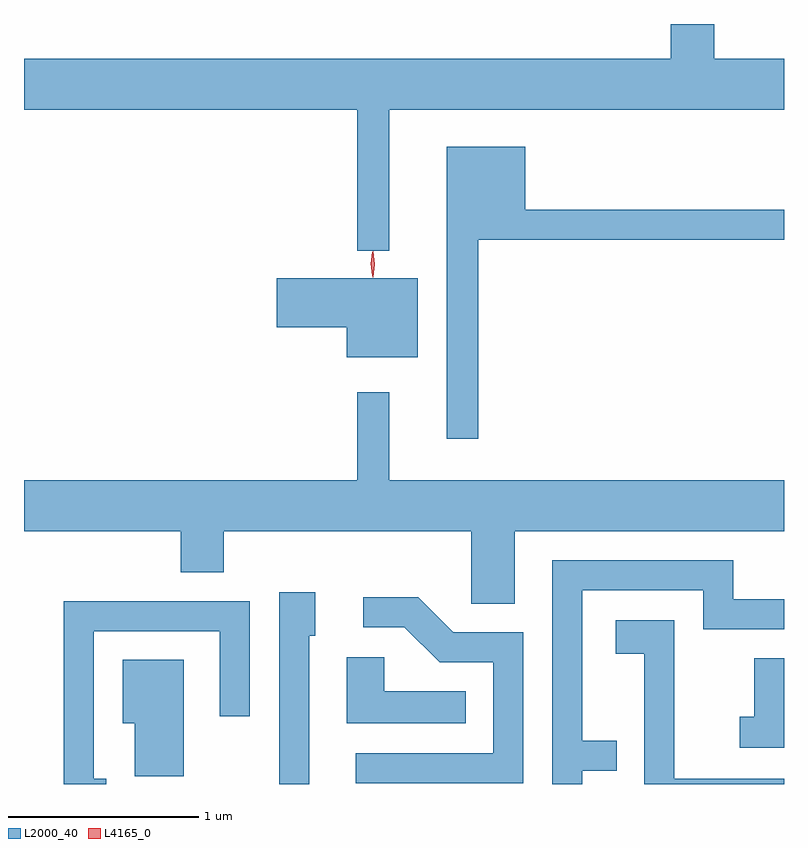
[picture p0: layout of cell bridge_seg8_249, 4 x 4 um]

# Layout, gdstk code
import gdstk
lib = gdstk.Library(unit=1e-6, precision=1e-09)
def P(c, l, *ps):  # polygons
    for p in ps: c.add(gdstk.Polygon(p, *l))
L2000_40 = (2000, 40)
L4165_0 = (4165, 0)

bridge_seg8_249 = lib.new_cell('bridge_seg8_249')
P(bridge_seg8_249, L2000_40, [(1102.779,1825.316),(1104.857,1825.316),(1104.857,1825.584),(1104.489,1825.584),(1104.489,1825.766),(1104.261,1825.766),(1104.261,1825.584),(1100.857,1825.584),(1100.857,1825.316),(1102.611,1825.316),(1102.611,1824.573),(1102.779,1824.573)],
  [(1103.249,1824.631),(1104.857,1824.631),(1104.857,1824.789),(1103.494,1824.789),(1103.494,1825.119),(1103.081,1825.119),(1103.081,1823.583),(1103.249,1823.583)],
  [(1102.929,1824.429),(1102.186,1824.429),(1102.186,1824.171),(1102.556,1824.171),(1102.556,1824.011),(1102.929,1824.011)],
  [(1103.439,1823.096),(1104.857,1823.096),(1104.857,1823.364),(1102.779,1823.364),(1102.779,1823.828),(1102.611,1823.828),(1102.611,1823.364),(1100.857,1823.364),(1100.857,1823.096),(1101.681,1823.096),(1101.681,1822.881),(1101.909,1822.881),(1101.909,1823.096),(1103.211,1823.096),(1103.211,1822.716),(1103.439,1822.716)],
  [(1103.794,1821.836),(1103.978,1821.836),(1103.978,1821.994),(1103.794,1821.994),(1103.794,1822.786),(1104.431,1822.786),(1104.431,1822.581),(1104.857,1822.581),(1104.857,1822.739),(1104.589,1822.739),(1104.589,1822.944),(1103.636,1822.944),(1103.636,1821.766),(1103.794,1821.766)],
  [(1102.359,1822.546),(1102.389,1822.546),(1102.389,1822.774),(1102.201,1822.774),(1102.201,1821.766),(1102.359,1821.766)],
  [(1103.484,1822.564),(1103.117,1822.564),(1102.932,1822.749),(1102.643,1822.749),(1102.643,1822.591),(1102.859,1822.591),(1103.044,1822.406),(1103.326,1822.406),(1103.326,1821.929),(1102.603,1821.929),(1102.603,1821.771),(1103.484,1821.771)],
  [(1101.289,1821.794),(1101.224,1821.794),(1101.224,1822.571),(1101.886,1822.571),(1101.886,1822.123),(1102.044,1822.123),(1102.044,1822.729),(1101.066,1822.729),(1101.066,1821.766),(1101.289,1821.766)],
  [(1104.857,1821.794),(1104.279,1821.794),(1104.279,1822.629),(1103.971,1822.629),(1103.971,1822.451),(1104.121,1822.451),(1104.121,1821.766),(1104.857,1821.766)],
  [(1103.183,1822.254),(1102.754,1822.254),(1102.754,1822.434),(1102.556,1822.434),(1102.556,1822.086),(1103.183,1822.086)],
  [(1104.857,1822.429),(1104.701,1822.429),(1104.701,1822.119),(1104.623,1822.119),(1104.623,1821.956),(1104.857,1821.956)],
  [(1101.699,1822.419),(1101.376,1822.419),(1101.376,1822.086),(1101.441,1822.086),(1101.441,1821.806),(1101.699,1821.806)])
P(bridge_seg8_249, L4165_0, [(1102.693,1824.434),(1102.684,1824.502),(1102.694,1824.57),(1102.695,1824.57),(1102.696,1824.57),(1102.704,1824.502),(1102.694,1824.434),(1102.694,1824.434)],
  [(1102.691,1824.44),(1102.681,1824.503),(1102.691,1824.566),(1102.692,1824.567),(1102.692,1824.566),(1102.702,1824.503),(1102.692,1824.44),(1102.692,1824.44)])

lib.write_gds('bridge_seg8_249.gds')
